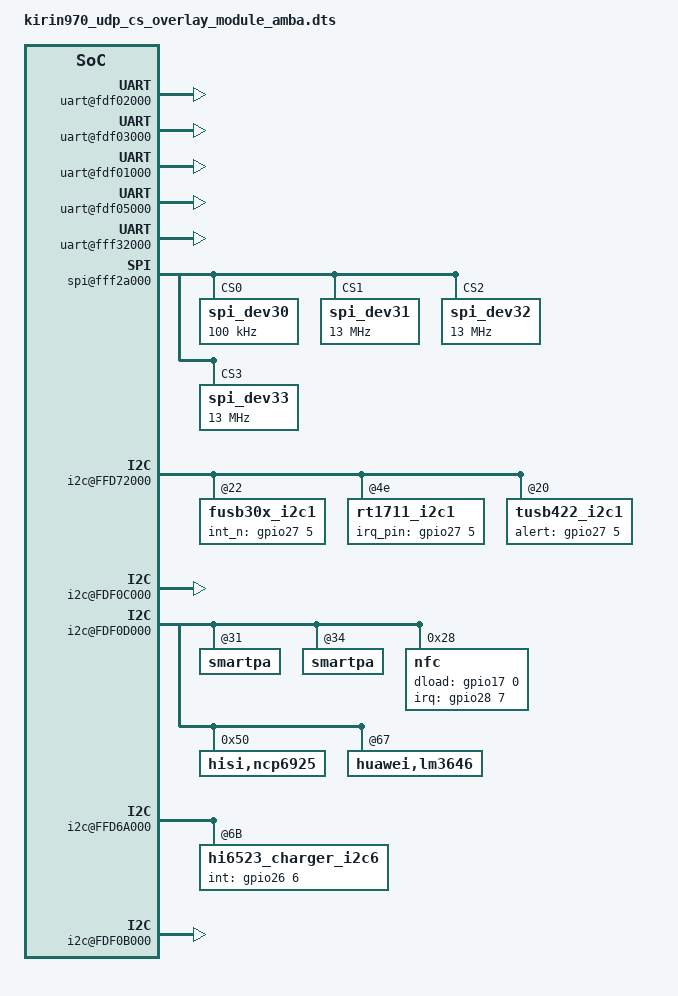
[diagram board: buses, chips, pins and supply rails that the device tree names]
&amba {
		#address-cells = <2>;
		#size-cells = <2>;
		interrupt-parent = <&gic>;
		ranges;

		/*rtc0: rtc@FFF04000 {
				interrupts = <0 46 0x4>;
				clocks = <&pclk>;
				clock-names = "apb_pclk";
				status = "ok";
		};*/

		/*rtc1: rtc@FFF05000 {
				interrupts = <0 47 0x4>;
				clocks = <&pclk>;
				clock-names = "apb_pclk";
				status = "ok";
		};*/

		watchdog0 {
			default-timeout = <24>;
			interrupts = <0 44 4>;
			clocks = <&pclk_gate_wd0 &pclk>;
			clock-names = "pclk_wd0", "apb_pclk";
			status = "disabled";
		};

                watchdog@ffd7c000{
                        status = "ok";
                };

		/*wdt1@e8a07000 {
			interrupts = <0 45 4>;
			clocks = <&pclk_gate_wd0 &pclk>;
			clock-names = "pclk_wd0", "apb_pclk";
		};*/

		uart@fdf02000 {
			pinctrl-names = "default", "idle";
			pinctrl-0 = <&gpio035_pmx_func &gpio036_pmx_func &gpio035_cfg_func &gpio036_cfg_func>;
			pinctrl-1 = <&gpio035_pmx_idle &gpio036_pmx_idle &gpio035_cfg_idle &gpio036_cfg_idle>;
			dma-names = "", "";
			dmas = <>;
			clock-rate = <0 19200000>;
			console-fifo-enable = <1>;
			console-fifo-size = <262144>;/* 256k */
			console-fifo-cpuon = <3>;
			status = "ok";
		};

		uart@fdf00000 {
			pinctrl-names = "default", "idle";
			pinctrl-0 = <>;
			pinctrl-1 = <>;
			clock-rate = <0 111000000>;
			status = "disabled";
			reset-enable-flag = <1>;
		};

		uart@fdf03000 {
			pinctrl-names = "default", "idle";
			pinctrl-0 = <>;
			pinctrl-1 = <>;
			clock-rate = <0 111000000>;
			status = "ok";
			reset-enable-flag = <1>;
		};

		uart@ffd74000 {
			pinctrl-names = "default", "idle";
			pinctrl-0 = <>;
			pinctrl-1 = <>;
			clock-rate = <0 100000000>;
			status = "disabled";
			reset-enable-flag = <0>;
		};

		uart@fdf01000 {
			pinctrl-names = "default", "idle";
			pinctrl-0 = <&gpio043_pmx_func &gpio044_pmx_func &gpio045_pmx_func &gpio046_pmx_func &gpio043_cfg_func &gpio044_cfg_func &gpio045_cfg_func &gpio046_cfg_func>;
			pinctrl-1 = <&gpio043_pmx_idle &gpio044_pmx_idle &gpio045_pmx_idle &gpio046_pmx_idle &gpio043_cfg_idle &gpio044_cfg_idle &gpio045_cfg_idle &gpio046_cfg_idle>;
			clock-rate = <0 111000000>;
			status = "ok";
			reset-enable-flag = <1>;
		};

		uart@fdf05000 {
			pinctrl-names = "default", "idle";
			pinctrl-0 = <&gpio039_pmx_func &gpio040_pmx_func &gpio041_pmx_func &gpio042_pmx_func &gpio039_cfg_func &gpio040_cfg_func &gpio041_cfg_func &gpio042_cfg_func>;
			pinctrl-1 = <&gpio039_pmx_idle &gpio040_pmx_idle &gpio041_pmx_idle &gpio042_pmx_idle &gpio039_cfg_idle &gpio040_cfg_idle &gpio041_cfg_idle &gpio042_cfg_idle>;
			clock-rate = <0 111000000>;
			status = "ok";
			reset-enable-flag = <1>;
		};

		uart@fff32000 {
			pinctrl-names = "default", "idle";
			pinctrl-0 = <&gpio037_pmx_func &gpio038_pmx_func &gpio037_cfg_func &gpio038_cfg_func>;
			pinctrl-1 = <&gpio037_pmx_idle &gpio038_pmx_idle &gpio037_cfg_idle &gpio038_cfg_idle>;
			clock-rate = <0 19200000>;
			console-fifo-enable = <1>;
			console-fifo-size = <262144>;/* 256k */
			console-fifo-cpuon = <3>;
			status = "ok";
		};

		dx_cc63p@fdf0e000 {
			reg = <0x0 0xfdf0e000 0x0 0x1000>;
			interrupt-parent = <&gic>;
			interrupts = <0 135 4>;
			status = "ok";
		};

		spi@ffd70000 {
			status = "disabled";
			hardware-mutex = <0x01>;
			clock-rate = <0 134400000>;
			spi_dev0@0 {
					spi-max-frequency = <100000>;
					reg = <0>;
					pl022,com-mode = <0>;
					pl022,interface = <0>;
					pl022,rx-level-trig = <3>;
					pl022,tx-level-trig = <3>;
					pl022,ctrl-len = <7>;
					pl022,wait-state = <0>;
					pl022,duplex = <0>;
					pl022,slave-tx-disable = <0>;
			};

			spi_dev1@1 {
					spi-max-frequency = <13000000>;
					reg = <1>;
					pl022,com-mode = <1>;
					pl022,interface = <0>;
					pl022,rx-level-trig = <3>;
					pl022,tx-level-trig = <3>;
					pl022,ctrl-len = <7>;
					pl022,wait-state = <0>;
					pl022,duplex = <0>;
					pl022,slave-tx-disable = <0>;
			};

			spi_dev2@2 {
					spi-max-frequency = <13000000>;
					reg = <2>;
					pl022,com-mode = <2>;
					pl022,interface = <0>;
					pl022,rx-level-trig = <3>;
					pl022,tx-level-trig = <3>;
					pl022,ctrl-len = <7>;
					pl022,wait-state = <0>;
					pl022,duplex = <0>;
					pl022,slave-tx-disable = <0>;
			};

			spi_dev3@3 {
					spi-max-frequency = <13000000>;
					reg = <3>;
					pl022,com-mode = <0>;
					pl022,interface = <0>;
					pl022,rx-level-trig = <3>;
					pl022,tx-level-trig = <3>;
					pl022,ctrl-len = <7>;
					pl022,wait-state = <0>;
					pl022,duplex = <0>;
					pl022,slave-tx-disable = <0>;
			};
		};

		spi@fdf08000 {
			status = "disabled";
			clock-rate = <19200000>;
			pinctrl-names = "default", "idle";
			pinctrl-0 = <&gpio008_pmx_func &gpio009_pmx_func &gpio010_pmx_func &gpio008_cfg_func &gpio009_cfg_func
					&gpio010_cfg_func>;
			pinctrl-1 = <&gpio008_pmx_idle &gpio009_pmx_idle &gpio010_pmx_idle &gpio008_cfg_idle &gpio009_cfg_idle
					&gpio010_cfg_idle>;
			spi_dev10@10 {
					spi-max-frequency = <100000>;
					reg = <0>;
					pl022,com-mode = <0>;
					pl022,interface = <0>;
					pl022,rx-level-trig = <3>;
					pl022,tx-level-trig = <3>;
					pl022,ctrl-len = <7>;
					pl022,wait-state = <0>;
					pl022,duplex = <0>;
					pl022,slave-tx-disable = <0>;
			};
		};
		spi@ffd68000 {
			status = "disabled";
			clock-rate = <134400000>;
			spi_dev20@20 {
					spi-max-frequency = <100000>;
					reg = <0>;
					pl022,com-mode = <1>;
					pl022,interface = <0>;
					pl022,rx-level-trig = <3>;
					pl022,tx-level-trig = <3>;
					pl022,ctrl-len = <7>;
					pl022,wait-state = <0>;
					pl022,duplex = <0>;
					pl022,slave-tx-disable = <0>;
			};
		};

		spi@fff2a000 {
			status = "ok";
			clock-rate = <83000000>;
			pinctrl-names = "default", "idle";
			pinctrl-0 = <&gpio144_pmx_func &gpio145_pmx_func &gpio146_pmx_func &gpio144_cfg_func &gpio145_cfg_func
					&gpio146_cfg_func>;
			pinctrl-1 = <&gpio144_pmx_idle &gpio145_pmx_idle &gpio146_pmx_idle &gpio144_cfg_idle &gpio145_cfg_idle
					&gpio146_cfg_idle>;
			spi_dev30@30 {
					spi-max-frequency = <100000>;
					reg = <0>;
					pl022,com-mode = <0>;
					pl022,interface = <0>;
					pl022,rx-level-trig = <3>;
					pl022,tx-level-trig = <3>;
					pl022,ctrl-len = <7>;
					pl022,wait-state = <0>;
					pl022,duplex = <0>;
					pl022,slave-tx-disable = <0>;
			};

			spi_dev31@31 {
					spi-max-frequency = <13000000>;
					reg = <1>;
					pl022,com-mode = <1>;
					pl022,interface = <0>;
					pl022,rx-level-trig = <3>;
					pl022,tx-level-trig = <3>;
					pl022,ctrl-len = <7>;
					pl022,wait-state = <0>;
					pl022,duplex = <0>;
					pl022,slave-tx-disable = <0>;
			};

			spi_dev32@32 {
					spi-max-frequency = <13000000>;
					reg = <2>;
					pl022,com-mode = <2>;
					pl022,interface = <0>;
					pl022,rx-level-trig = <3>;
					pl022,tx-level-trig = <3>;
					pl022,ctrl-len = <7>;
					pl022,wait-state = <0>;
					pl022,duplex = <0>;
					pl022,slave-tx-disable = <0>;
			};

			spi_dev33@33 {
					spi-max-frequency = <13000000>;
					reg = <3>;
					pl022,com-mode = <0>;
					pl022,interface = <0>;
					pl022,rx-level-trig = <3>;
					pl022,tx-level-trig = <3>;
					pl022,ctrl-len = <7>;
					pl022,wait-state = <0>;
					pl022,duplex = <0>;
					pl022,slave-tx-disable = <0>;
			};
		};
		/* I2C0 ~ I2C4 */
		i2c@FFD71000 {
			status = "disabled";
			pinctrl-names = "default", "idle";
			pinctrl-0 = <>;
			pinctrl-1 = <>;
			//cs-gpios = <>, <>;
		};

		i2c@FFD72000 {
			status = "ok";
			clock-rate = <0 33600000>;
			pinctrl-names = "default", "idle";
			pinctrl-0 = <&gpio188_pmx_func &gpio189_pmx_func &gpio188_cfg_func &gpio189_cfg_func>;
			pinctrl-1 = <&gpio188_pmx_idle &gpio189_pmx_idle &gpio188_cfg_idle &gpio189_cfg_idle>;
			cs-gpios = <&gpio23 4 0>, <&gpio23 5 0>;

			fusb30x_i2c1@22 {
                                status = "ok";
                                fairchild,int_n = <&gpio27 5 0>;
                        };
                        rt1711_i2c1@4e {
                                status = "ok";
                                rt1711,irq_pin = <&gpio27 5 0>;
                        };
                        tusb422_i2c1@20 {
                                status = "ok";
                                ti,alert-gpio = <&gpio27 5 0>;
                        };
		};

		i2c@FFD73000 {
			status = "disabled";
			clock-rate = <0 33600000>;
			pinctrl-names = "default", "idle";
			pinctrl-0 = <&gpio190_pmx_func &gpio191_pmx_func &gpio190_cfg_func &gpio191_cfg_func>;
			pinctrl-1 = <&gpio190_pmx_idle &gpio191_pmx_idle &gpio190_cfg_idle &gpio191_cfg_idle>;
			cs-gpios = <&gpio23 6 0>, <&gpio23 7 0>;
		};

		i2c@FDF0C000 {
			status = "ok";
			clock-rate = <0 111000000>;
			pinctrl-names = "default", "idle";
			pinctrl-0 = <&gpio006_pmx_func &gpio007_pmx_func &gpio006_cfg_func &gpio007_cfg_func>;
			pinctrl-1 = <&gpio006_pmx_idle &gpio007_pmx_idle &gpio006_cfg_idle &gpio007_cfg_idle>;
			cs-gpios = <&gpio0 6 0>, <&gpio0 7 0>;

            huawei,vl53l0@52{
                huawei,laser_name = "vl53l0_970";
                reg = <0x52>;
                product_name = "ALPS_LASER";
                avdd-supply = <&ldo34>;
                huawei,ldo-names = "avdd";
                gpios = <&gpio7 1 0 &gpio6 7 0>;
                huawei,gpio-ctrl-types = "xsdn", "intr";
                pinctrl-names = "default", "idle";
                pinctrl-0 = <&gpio057_pmx_func &gpio057_cfg_func>;
                pinctrl-1 = <&gpio057_pmx_idle &gpio057_cfg_idle>;
                status = "disabled";
            };
		};

		i2c@FDF0D000 {
			status = "ok";
			clock-rate = <0 111000000>;
			pinctrl-names = "default", "idle";
			pinctrl-0 = <&gpio026_pmx_func &gpio027_pmx_func &gpio026_cfg_func &gpio027_cfg_func>;
			pinctrl-1 = <&gpio026_pmx_idle &gpio027_pmx_idle &gpio026_cfg_idle &gpio027_cfg_idle>;
			cs-gpios = <&gpio3 2 0>, <&gpio3 3 0>;

			smartpa@31 {
				status = "ok";
				gain_incall = <0x16>;
				gain = <0x16>;
			};

			smartpa@34 {
				status = "ok";
				gain_incall = <0x16>;
				gain = <0x16>;
			};

			nfc@28{
				status = "ok";
				nfc_on_type = "hi6421v600_pmic";
				nfc_brcm_conf_name = "libnfc_brcm_kirin970.conf";
				nfc_nxp_name = "libnfc_nxp_kirin970.conf";
				nfc_card_num = <0x2>;
				clk_status ="pmu_hi6421v600";
				pn547,dload = <&gpio17 0 0>;
				pn547,irq = <&gpio28 7 0>;
				pn547,ven = <>;
				pinctrl-1 = <&gpio231_pmx_idle &gpio136_pmx_idle>;
				pinctrl-0 = <&gpio231_pmx_func &gpio136_pmx_func>;
				pinctrl-names = "default","idle";
				clock-names = "clk_out0";
				clocks = <&clk_gate_out0>;
				reg = <0x28>;
				nfc_chip_type = "pn551";
				nfc_single_channel = "true";
				nfc_ese_type = "hisee";
			};

			hisi,ncp6925@50{
				reg = <0x50>;
				hisi,pmic_name = "ncp6925";
				hisi,pmic_index = <0>;
				hisi,slave_address = <0x50>;
				hisi,pmic-pin = <54 999 999>;
				hisi,pmic-voltage = <0x0 0x1 0x2 0x3 0x4 0x5 0x6>;
				status = "ok";
			};

			huawei,lm3646@67{
				huawei,need-wakelock = <0>;
				huawei,flash-pin = <131 999 999>;
				status = "ok";
			};

		};

		i2c@FFD6A000 {
			status = "ok";
			clock-rate = <0 33600000>;
			pinctrl-names = "default", "idle";
			pinctrl-0 = <&gpio199_pmx_func &gpio198_pmx_func &gpio199_cfg_func &gpio198_cfg_func>;
			pinctrl-1 = <&gpio199_pmx_idle &gpio198_pmx_idle &gpio199_cfg_idle &gpio198_cfg_idle>;
			cs-gpios = <&gpio24 7 0>, <&gpio24 6 0>;
			hi6523_charger_i2c6@6B{
			status = "ok";
			gpio_int = <&gpio26 6 0>;
			};
		};

		i2c@FDF0B000 {
			status = "ok";
			clock-rate = <0 111000000>;
			pinctrl-names = "default", "idle";
			pinctrl-0 = <&gpio190_pmx_func &gpio191_pmx_func &gpio190_cfg_func &gpio191_cfg_func>;
			pinctrl-1 = <&gpio190_pmx_idle &gpio191_pmx_idle &gpio190_cfg_idle &gpio191_cfg_idle>;
			cs-gpios = <&gpio23 6 0>, <&gpio23 7 0>;
		};
	};
	/* end amba */
